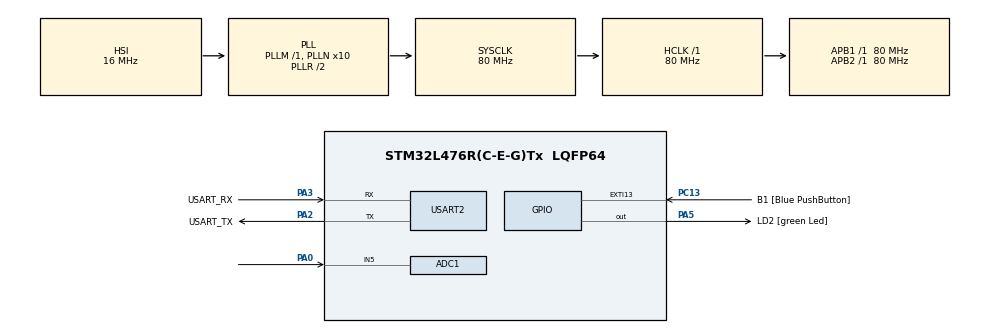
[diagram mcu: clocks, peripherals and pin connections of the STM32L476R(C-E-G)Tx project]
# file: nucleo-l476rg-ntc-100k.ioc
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ADC1.Channel-1\#ChannelRegularConversion=ADC_CHANNEL_5
ADC1.NbrOfConversionFlag=1
ADC1.OffsetNumber-1\#ChannelRegularConversion=ADC_OFFSET_NONE
ADC1.Rank-1\#ChannelRegularConversion=1
ADC1.SamplingTime-1\#ChannelRegularConversion=ADC_SAMPLETIME_2CYCLES_5
ADC1.master=1
Mcu.Family=STM32L4
Mcu.Name=STM32L476R(C-E-G)Tx
Mcu.Package=LQFP64
NVIC.PriorityGroup=NVIC_PRIORITYGROUP_4
NVIC.TIM6_DAC_IRQn=true\:0\:0\:false\:false\:true\:false\:true
NVIC.TimeBase=TIM6_DAC_IRQn
NVIC.TimeBaseIP=TIM6
PA0.Signal=ADCx_IN5
PA13\ (JTMS-SWDIO).GPIO_Label=TMS
PA13\ (JTMS-SWDIO).Mode=Serial_Wire
PA13\ (JTMS-SWDIO).Signal=SYS_JTMS-SWDIO
PA14\ (JTCK-SWCLK).GPIO_Label=TCK
PA14\ (JTCK-SWCLK).Mode=Serial_Wire
PA14\ (JTCK-SWCLK).Signal=SYS_JTCK-SWCLK
PA2.GPIO_Label=USART_TX
PA2.GPIO_Mode=GPIO_MODE_AF_PP
PA2.GPIO_PuPd=GPIO_NOPULL
PA2.GPIO_Speed=GPIO_SPEED_FREQ_VERY_HIGH
PA2.Mode=Asynchronous
PA2.Signal=USART2_TX
PA3.GPIO_Label=USART_RX
PA3.GPIO_Mode=GPIO_MODE_AF_PP
PA3.GPIO_PuPd=GPIO_NOPULL
PA3.GPIO_Speed=GPIO_SPEED_FREQ_VERY_HIGH
PA3.Mode=Asynchronous
PA3.Signal=USART2_RX
PA5.GPIO_Label=LD2 [green Led]
PA5.GPIO_ModeDefaultOutputPP=GPIO_MODE_OUTPUT_PP
PA5.GPIO_PuPd=GPIO_NOPULL
PA5.GPIO_Speed=GPIO_SPEED_FREQ_LOW
PA5.Signal=GPIO_Output
PB3\ (JTDO-TRACESWO).GPIO_Label=SWO
PB3\ (JTDO-TRACESWO).Signal=SYS_JTDO-SWO
PC13.GPIO_Label=B1 [Blue PushButton]
PC13.GPIO_ModeDefaultEXTI=GPIO_MODE_IT_FALLING
PC13.GPIO_PuPd=GPIO_NOPULL
PC13.Signal=GPXTI13
PC14-OSC32_IN\ (PC14).Mode=LSE-External-Oscillator
PC14-OSC32_IN\ (PC14).Signal=RCC_OSC32_IN
PC15-OSC32_OUT\ (PC15).Mode=LSE-External-Oscillator
PC15-OSC32_OUT\ (PC15).Signal=RCC_OSC32_OUT
PH0-OSC_IN\ (PH0).Signal=RCC_OSC_IN
PH1-OSC_OUT\ (PH1).Signal=RCC_OSC_OUT
ProjectManager.HeapSize=0x200
ProjectManager.StackSize=0x400
ProjectManager.TargetToolchain=STM32CubeIDE
RCC.ADCFreq_Value=64000000
RCC.AHBFreq_Value=80000000
RCC.APB1Freq_Value=80000000
RCC.APB1TimFreq_Value=80000000
RCC.APB2Freq_Value=80000000
RCC.APB2TimFreq_Value=80000000
RCC.CortexFreq_Value=80000000
RCC.HCLKFreq_Value=80000000
RCC.HSE_VALUE=8000000
RCC.HSI_VALUE=16000000
RCC.MSI_VALUE=4000000
RCC.PLLN=10
RCC.PLLSourceVirtual=RCC_PLLSOURCE_HSI
RCC.PREFETCH_ENABLE=1
RCC.SYSCLKFreq_VALUE=80000000
RCC.SYSCLKSource=RCC_SYSCLKSOURCE_PLLCLK
RCC.USBFreq_Value=64000000
RCC.VCOOutputFreq_Value=160000000
SH.ADCx_IN5.0=ADC1_IN5,IN5-Single-Ended
USART2.VirtualMode-Asynchronous=VM_ASYNC
VP_SYS_VS_tim6.Mode=TIM6
board=NUCLEO-L476RG

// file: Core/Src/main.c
/* USER CODE BEGIN Header */
/**
  ******************************************************************************
  * @file           : main.c
  * @brief          : Main program body
  ******************************************************************************
  * @attention
  *
  * <h2><center>&copy; Copyright (c) 2021 STMicroelectronics.
  * All rights reserved.</center></h2>
  *
  * This software component is licensed by ST under BSD 3-Clause license,
  * the "License"; You may not use this file except in compliance with the
  * License. You may obtain a copy of the License at:
  *                        opensource.org/licenses/BSD-3-Clause
  *
  ******************************************************************************
  */
/* USER CODE END Header */
#include "main.h"

/* USER CODE BEGIN Includes */
#include <string.h>
#include <stdio.h>
#include <math.h>
/* USER CODE END Includes */

ADC_HandleTypeDef hadc1;

UART_HandleTypeDef huart2;

void SystemClock_Config(void);
static void MX_GPIO_Init(void);
static void MX_USART2_UART_Init(void);
static void MX_ADC1_Init(void);

int main(void)
{
  /* USER CODE BEGIN 1 */

  /* Parâmetros mensagem */
  char msg[20];

  /* Variáveis Globais */
  float  Raux    =   100000.0,   //Resistor superior do divisor
          Rd0     =   100000.0,   //Resistência do NTC a 25ºC
          T0      =   295.15,     //25ºC convertido para Kelvin
          Vadc    =   0.0,        //Tensão de saída do divisor de tensão
          Rntc    =   0.0,        //Resistencia do NTC
          T1      =   273.15,     //Temperatura de calibração 1 [K]
          T2      =   373.15,     //Temperatura de calibração 2 [K]
          RT1     =   367810,     //Resistência do ntc em T1
          RT2     =   4500,       //Resistência do ntc em T2
          beta    =   0.0,        //Constante do termistor
          Rinf    =   0.0,        //Parêmtro de resistência
          tempK   =   0.0,        //Armazena temperatura em Kelvin
          tempC   =   0.0,        //Armazena temperatura em Celsius
  	  	  ntc     =   0.0;

  beta=(log(RT1/RT2))/((1/T1)-(1/T2));        //calcula constante do NTC
  Rinf=Rd0*exp(-beta/T0);                     //calcula resistência

  /* USER CODE END 1 */

  /* MCU Configuration--------------------------------------------------------*/

  /* Reset of all peripherals, Initializes the Flash interface and the Systick. */
  HAL_Init();

  /* Configure the system clock */
  SystemClock_Config();

  /* Initialize all configured peripherals */
  MX_GPIO_Init();
  MX_USART2_UART_Init();
  MX_ADC1_Init();

  /* Infinite loop */
  /* USER CODE BEGIN WHILE */
  while (1)
  {

  // Leitura do sensor
  HAL_ADC_Start(&hadc1);
  HAL_ADC_PollForConversion(&hadc1, HAL_MAX_DELAY);
  ntc = HAL_ADC_GetValue(&hadc1);

  Vadc = (3.3*(ntc/4095));                //calcula tensão na saída do divisor
  Rntc = (Raux*Vadc)/(3.3-Vadc);          //calcula resistência do NTC
  tempK = (beta/log(Rntc/Rinf));          //calcula temperatura em Kelvin
  tempC = tempK-273.15;                   //calcula temperatura em Celsius

  sprintf(msg, "Temperatura: %.2f\r\n", tempC);
  HAL_UART_Transmit(&huart2, (uint8_t*)msg, strlen(msg), HAL_MAX_DELAY);

  HAL_Delay(1);

    /* USER CODE END WHILE */

  }
}

void SystemClock_Config(void)
{
  RCC_OscInitTypeDef RCC_OscInitStruct = {0};
  RCC_ClkInitTypeDef RCC_ClkInitStruct = {0};
  RCC_PeriphCLKInitTypeDef PeriphClkInit = {0};

  /** Initializes the RCC Oscillators according to the specified parameters
  * in the RCC_OscInitTypeDef structure.
  */
  RCC_OscInitStruct.OscillatorType = RCC_OSCILLATORTYPE_HSI;
  RCC_OscInitStruct.HSIState = RCC_HSI_ON;
  RCC_OscInitStruct.HSICalibrationValue = RCC_HSICALIBRATION_DEFAULT;
  RCC_OscInitStruct.PLL.PLLState = RCC_PLL_ON;
  RCC_OscInitStruct.PLL.PLLSource = RCC_PLLSOURCE_HSI;
  RCC_OscInitStruct.PLL.PLLM = 1;
  RCC_OscInitStruct.PLL.PLLN = 10;
  RCC_OscInitStruct.PLL.PLLP = RCC_PLLP_DIV7;
  RCC_OscInitStruct.PLL.PLLQ = RCC_PLLQ_DIV2;
  RCC_OscInitStruct.PLL.PLLR = RCC_PLLR_DIV2;
  if (HAL_RCC_OscConfig(&RCC_OscInitStruct) != HAL_OK)
  {
    Error_Handler();
  }
  /** Initializes the CPU, AHB and APB buses clocks
  */
  RCC_ClkInitStruct.ClockType = RCC_CLOCKTYPE_HCLK|RCC_CLOCKTYPE_SYSCLK
                              |RCC_CLOCKTYPE_PCLK1|RCC_CLOCKTYPE_PCLK2;
  RCC_ClkInitStruct.SYSCLKSource = RCC_SYSCLKSOURCE_PLLCLK;
  RCC_ClkInitStruct.AHBCLKDivider = RCC_SYSCLK_DIV1;
  RCC_ClkInitStruct.APB1CLKDivider = RCC_HCLK_DIV1;
  RCC_ClkInitStruct.APB2CLKDivider = RCC_HCLK_DIV1;

  if (HAL_RCC_ClockConfig(&RCC_ClkInitStruct, FLASH_LATENCY_4) != HAL_OK)
  {
    Error_Handler();
  }
  PeriphClkInit.PeriphClockSelection = RCC_PERIPHCLK_USART2|RCC_PERIPHCLK_ADC;
  PeriphClkInit.Usart2ClockSelection = RCC_USART2CLKSOURCE_PCLK1;
  PeriphClkInit.AdcClockSelection = RCC_ADCCLKSOURCE_PLLSAI1;
  PeriphClkInit.PLLSAI1.PLLSAI1Source = RCC_PLLSOURCE_HSI;
  PeriphClkInit.PLLSAI1.PLLSAI1M = 1;
  PeriphClkInit.PLLSAI1.PLLSAI1N = 8;
  PeriphClkInit.PLLSAI1.PLLSAI1P = RCC_PLLP_DIV7;
  PeriphClkInit.PLLSAI1.PLLSAI1Q = RCC_PLLQ_DIV2;
  PeriphClkInit.PLLSAI1.PLLSAI1R = RCC_PLLR_DIV2;
  PeriphClkInit.PLLSAI1.PLLSAI1ClockOut = RCC_PLLSAI1_ADC1CLK;
  if (HAL_RCCEx_PeriphCLKConfig(&PeriphClkInit) != HAL_OK)
  {
    Error_Handler();
  }
  /** Configure the main internal regulator output voltage
  */
  if (HAL_PWREx_ControlVoltageScaling(PWR_REGULATOR_VOLTAGE_SCALE1) != HAL_OK)
  {
    Error_Handler();
  }
}

static void MX_ADC1_Init(void)
{

  ADC_MultiModeTypeDef multimode = {0};
  ADC_ChannelConfTypeDef sConfig = {0};

  /** Common config
  */
  hadc1.Instance = ADC1;
  hadc1.Init.ClockPrescaler = ADC_CLOCK_ASYNC_DIV1;
  hadc1.Init.Resolution = ADC_RESOLUTION_12B;
  hadc1.Init.DataAlign = ADC_DATAALIGN_RIGHT;
  hadc1.Init.ScanConvMode = ADC_SCAN_DISABLE;
  hadc1.Init.EOCSelection = ADC_EOC_SINGLE_CONV;
  hadc1.Init.LowPowerAutoWait = DISABLE;
  hadc1.Init.ContinuousConvMode = DISABLE;
  hadc1.Init.NbrOfConversion = 1;
  hadc1.Init.DiscontinuousConvMode = DISABLE;
  hadc1.Init.ExternalTrigConv = ADC_SOFTWARE_START;
  hadc1.Init.ExternalTrigConvEdge = ADC_EXTERNALTRIGCONVEDGE_NONE;
  hadc1.Init.DMAContinuousRequests = DISABLE;
  hadc1.Init.Overrun = ADC_OVR_DATA_PRESERVED;
  hadc1.Init.OversamplingMode = DISABLE;
  if (HAL_ADC_Init(&hadc1) != HAL_OK)
  {
    Error_Handler();
  }
  /** Configure the ADC multi-mode
  */
  multimode.Mode = ADC_MODE_INDEPENDENT;
  if (HAL_ADCEx_MultiModeConfigChannel(&hadc1, &multimode) != HAL_OK)
  {
    Error_Handler();
  }
  /** Configure Regular Channel
  */
  sConfig.Channel = ADC_CHANNEL_5;
  sConfig.Rank = ADC_REGULAR_RANK_1;
  sConfig.SamplingTime = ADC_SAMPLETIME_2CYCLES_5;
  sConfig.SingleDiff = ADC_SINGLE_ENDED;
  sConfig.OffsetNumber = ADC_OFFSET_NONE;
  sConfig.Offset = 0;
  if (HAL_ADC_ConfigChannel(&hadc1, &sConfig) != HAL_OK)
  {
    Error_Handler();
  }

}

static void MX_USART2_UART_Init(void)
{

  huart2.Instance = USART2;
  huart2.Init.BaudRate = 115200;
  huart2.Init.WordLength = UART_WORDLENGTH_8B;
  huart2.Init.StopBits = UART_STOPBITS_1;
  huart2.Init.Parity = UART_PARITY_NONE;
  huart2.Init.Mode = UART_MODE_TX_RX;
  huart2.Init.HwFlowCtl = UART_HWCONTROL_NONE;
  huart2.Init.OverSampling = UART_OVERSAMPLING_16;
  huart2.Init.OneBitSampling = UART_ONE_BIT_SAMPLE_DISABLE;
  huart2.AdvancedInit.AdvFeatureInit = UART_ADVFEATURE_NO_INIT;
  if (HAL_UART_Init(&huart2) != HAL_OK)
  {
    Error_Handler();
  }

}

static void MX_GPIO_Init(void)
{
  GPIO_InitTypeDef GPIO_InitStruct = {0};

  /* GPIO Ports Clock Enable */
  __HAL_RCC_GPIOC_CLK_ENABLE();
  __HAL_RCC_GPIOH_CLK_ENABLE();
  __HAL_RCC_GPIOA_CLK_ENABLE();
  __HAL_RCC_GPIOB_CLK_ENABLE();

  /*Configure GPIO pin Output Level */
  HAL_GPIO_WritePin(LD2_GPIO_Port, LD2_Pin, GPIO_PIN_RESET);

  /*Configure GPIO pin : B1_Pin */
  GPIO_InitStruct.Pin = B1_Pin;
  GPIO_InitStruct.Mode = GPIO_MODE_IT_FALLING;
  GPIO_InitStruct.Pull = GPIO_NOPULL;
  HAL_GPIO_Init(B1_GPIO_Port, &GPIO_InitStruct);

  /*Configure GPIO pin : LD2_Pin */
  GPIO_InitStruct.Pin = LD2_Pin;
  GPIO_InitStruct.Mode = GPIO_MODE_OUTPUT_PP;
  GPIO_InitStruct.Pull = GPIO_NOPULL;
  GPIO_InitStruct.Speed = GPIO_SPEED_FREQ_LOW;
  HAL_GPIO_Init(LD2_GPIO_Port, &GPIO_InitStruct);

}

 /**
  * @brief  Period elapsed callback in non blocking mode
  * @note   This function is called  when TIM6 interrupt took place, inside
  * HAL_TIM_IRQHandler(). It makes a direct call to HAL_IncTick() to increment
  * a global variable "uwTick" used as application time base.
  * @param  htim : TIM handle
  * @retval None
  */
void HAL_TIM_PeriodElapsedCallback(TIM_HandleTypeDef *htim)
{
  if (htim->Instance == TIM6) {
    HAL_IncTick();
  }
}

void Error_Handler(void)
{
  __disable_irq();
  while (1)
  {
  }
}

/************************ (C) COPYRIGHT STMicroelectronics *****END OF FILE****/
